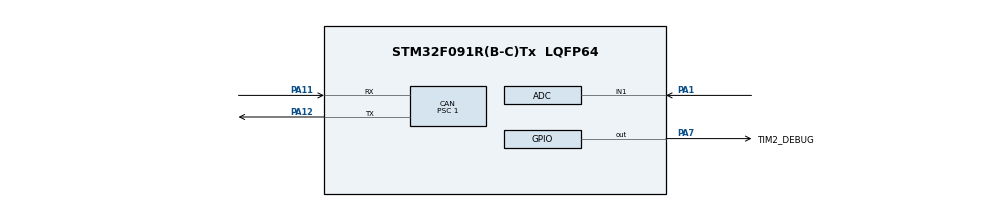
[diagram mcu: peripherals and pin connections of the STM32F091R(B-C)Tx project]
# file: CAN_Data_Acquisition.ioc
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ADC.ContinuousConvMode=DISABLE
ADC.DMAContinuousRequests=ENABLE
ADC.ExternalTrigConv=ADC_EXTERNALTRIGCONV_T2_TRGO
ADC.SamplingTime=ADC_SAMPLETIME_55CYCLES_5
CAN.BS1=CAN_BS1_13TQ
CAN.BS2=CAN_BS2_2TQ
CAN.CalculateBaudRate=500000
CAN.CalculateTimeBit=2000
CAN.CalculateTimeQuantum=125.0
CAN.Mode=CAN_MODE_NORMAL
CAN.Prescaler=1
Dma.ADC.0.Direction=DMA_PERIPH_TO_MEMORY
Dma.ADC.0.Instance=DMA1_Channel1
Dma.ADC.0.MemDataAlignment=DMA_MDATAALIGN_HALFWORD
Dma.ADC.0.MemInc=DMA_MINC_ENABLE
Dma.ADC.0.Mode=DMA_CIRCULAR
Dma.ADC.0.PeriphDataAlignment=DMA_PDATAALIGN_HALFWORD
Dma.ADC.0.PeriphInc=DMA_PINC_DISABLE
Dma.ADC.0.Priority=DMA_PRIORITY_LOW
Dma.Request0=ADC
Mcu.Family=STM32F0
Mcu.Name=STM32F091R(B-C)Tx
Mcu.Package=LQFP64
NVIC.ADC1_COMP_IRQn=true\:0\:0\:false\:false\:true\:true\:true\:true
NVIC.DMA1_Ch1_IRQn=true\:0\:0\:false\:false\:true\:false\:true\:true
PA1.Mode=IN1
PA1.Signal=ADC_IN1
PA11.Mode=CAN_Activate
PA11.Signal=CAN_RX
PA12.Mode=CAN_Activate
PA12.Signal=CAN_TX
PA7.GPIO_Label=TIM2_DEBUG
PA7.Signal=GPIO_Output
ProjectManager.HeapSize=0x200
ProjectManager.StackSize=0x400
ProjectManager.TargetToolchain=STM32CubeIDE
TIM2.AutoReloadPreload=TIM_AUTORELOAD_PRELOAD_DISABLE
TIM2.Period=999
TIM2.Prescaler=7
TIM2.TIM_MasterOutputTrigger=TIM_TRGO_UPDATE
TIM2.TIM_MasterSlaveMode=TIM_MASTERSLAVEMODE_ENABLE
VP_TIM2_VS_ClockSourceINT.Mode=Internal
board=custom

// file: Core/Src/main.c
/* USER CODE BEGIN Header */
/**
  ******************************************************************************
  * @file           : main.c
  * @brief          : Main program body
  ******************************************************************************
  * @attention
  *
  * Copyright (c) 2026 STMicroelectronics.
  * All rights reserved.
  *
  * This software is licensed under terms that can be found in the LICENSE file
  * in the root directory of this software component.
  * If no LICENSE file comes with this software, it is provided AS-IS.
  *
  ******************************************************************************
  */
/* USER CODE END Header */
#include "main.h"

/* USER CODE BEGIN PD */
#define BUFFER_LENGTH ((uint16_t)100)
/* USER CODE END PD */

ADC_HandleTypeDef hadc;
DMA_HandleTypeDef hdma_adc;

CAN_HandleTypeDef hcan;

TIM_HandleTypeDef htim2;

void SystemClock_Config(void);
static void MX_GPIO_Init(void);
static void MX_DMA_Init(void);
static void MX_ADC_Init(void);
static void MX_TIM2_Init(void);
static void MX_CAN_Init(void);

/* USER CODE BEGIN 0 */
uint16_t ADC_VAL = 0;
volatile uint32_t half_count = 0;
volatile long value = 0;
uint16_t buffer[BUFFER_LENGTH];

long map(long x, long in_min, long in_max, long out_min, long out_max) {
	return (x - in_min) * (out_max - out_min + 1) / (in_max - in_min + 1) + out_min;
}

void HAL_ADC_ConvHalfCpltCallback(ADC_HandleTypeDef* hadc) {
	if (hadc->Instance == ADC1) {
		ADC_VAL = buffer[(BUFFER_LENGTH / 2) - 1];
		value = map(ADC_VAL, 0, 4034, 0, 100);
		half_count++;
	}
}

volatile uint32_t full_count = 0;

void HAL_ADC_ConvCpltCallback(ADC_HandleTypeDef* hadc) {
	if (hadc->Instance == ADC1)
	{
		//HAL_GPIO_WritePin(TIM2_DEBUG_GPIO_Port, TIM2_DEBUG_Pin, GPIO_PIN_SET);
		ADC_VAL = buffer[BUFFER_LENGTH - 1];
		value = map(ADC_VAL, 0, 4034, 0, 100);
		full_count++;
		//HAL_GPIO_WritePin(TIM2_DEBUG_GPIO_Port, TIM2_DEBUG_Pin, GPIO_PIN_RESET);
	}
}

volatile uint32_t error_count = 0;

void HAL_ADC_ErrorCallback(ADC_HandleTypeDef* hadc) {
	if (hadc->Instance == ADC1) error_count++;
}

CAN_TxHeaderTypeDef Tx_header = {0};
uint8_t Tx_data[8] = {0xAB};
uint32_t Tx_mailbox;
HAL_StatusTypeDef Tx_status;

uint32_t CanFifoFillLevel;

CAN_RxHeaderTypeDef Rx_header;
uint8_t Rx_data[8] = {0};
HAL_StatusTypeDef Rx_status;
uint32_t can_error, tx_free;
HAL_StatusTypeDef filter_status, start_status;

/* USER CODE END 0 */

int main(void)
{

  /* MCU Configuration--------------------------------------------------------*/

  /* Reset of all peripherals, Initializes the Flash interface and the Systick. */
  HAL_Init();

  /* Configure the system clock */
  SystemClock_Config();

  /* Initialize all configured peripherals */
  MX_GPIO_Init();
  MX_DMA_Init();
  MX_ADC_Init();
  MX_TIM2_Init();
  MX_CAN_Init();
  /* USER CODE BEGIN 2 */
  HAL_ADC_Start_DMA(&hadc, (uint32_t *)buffer, BUFFER_LENGTH);
  HAL_TIM_Base_Start(&htim2);

  CAN_FilterTypeDef filter_conf = {0};
  filter_conf.FilterMode = CAN_FILTERMODE_IDMASK;
  filter_conf.FilterScale = CAN_FILTERSCALE_32BIT;
  filter_conf.FilterFIFOAssignment = CAN_FILTER_FIFO0;
  filter_conf.FilterActivation = CAN_FILTER_ENABLE;

  filter_status = HAL_CAN_ConfigFilter(&hcan, &filter_conf);
  if (filter_status != HAL_OK) {
      Error_Handler();
  }

  start_status = HAL_CAN_Start(&hcan);
  if (start_status != HAL_OK) {
      can_error = HAL_CAN_GetError(&hcan);  // Inspect here in the debugger
      Error_Handler();
  }

  Tx_header.StdId = 2;
  Tx_header.ExtId = 0;
  Tx_header.IDE = CAN_ID_STD;
  Tx_header.RTR = CAN_RTR_DATA;
  Tx_header.DLC = 1;
  Tx_header.TransmitGlobalTime = DISABLE;
  /* USER CODE END 2 */

  /* Infinite loop */
  /* USER CODE BEGIN WHILE */
  while (1)
  {

	  Tx_status = HAL_CAN_AddTxMessage(&hcan, &Tx_header, Tx_data, &Tx_mailbox);
	  HAL_Delay(100);

	  can_error = HAL_CAN_GetError(&hcan);
	  tx_free = HAL_CAN_GetTxMailboxesFreeLevel(&hcan);
	  HAL_Delay(400);

	 // CanFifoFillLevel = HAL_CAN_GetRxFifoFillLevel(&hcan, CAN_RX_FIFO0);
	  //if (CanFifoFillLevel != 0) Rx_status = HAL_CAN_GetRxMessage(&hcan, CAN_RX_FIFO0, &Rx_header, Rx_data);

    /* USER CODE END WHILE */

  }
}

void SystemClock_Config(void)
{
  RCC_OscInitTypeDef RCC_OscInitStruct = {0};
  RCC_ClkInitTypeDef RCC_ClkInitStruct = {0};

  /** Initializes the RCC Oscillators according to the specified parameters
  * in the RCC_OscInitTypeDef structure.
  */
  RCC_OscInitStruct.OscillatorType = RCC_OSCILLATORTYPE_HSI|RCC_OSCILLATORTYPE_HSI14;
  RCC_OscInitStruct.HSIState = RCC_HSI_ON;
  RCC_OscInitStruct.HSI14State = RCC_HSI14_ON;
  RCC_OscInitStruct.HSICalibrationValue = RCC_HSICALIBRATION_DEFAULT;
  RCC_OscInitStruct.HSI14CalibrationValue = 16;
  RCC_OscInitStruct.PLL.PLLState = RCC_PLL_NONE;
  if (HAL_RCC_OscConfig(&RCC_OscInitStruct) != HAL_OK)
  {
    Error_Handler();
  }

  /** Initializes the CPU, AHB and APB buses clocks
  */
  RCC_ClkInitStruct.ClockType = RCC_CLOCKTYPE_HCLK|RCC_CLOCKTYPE_SYSCLK
                              |RCC_CLOCKTYPE_PCLK1;
  RCC_ClkInitStruct.SYSCLKSource = RCC_SYSCLKSOURCE_HSI;
  RCC_ClkInitStruct.AHBCLKDivider = RCC_SYSCLK_DIV1;
  RCC_ClkInitStruct.APB1CLKDivider = RCC_HCLK_DIV1;

  if (HAL_RCC_ClockConfig(&RCC_ClkInitStruct, FLASH_LATENCY_0) != HAL_OK)
  {
    Error_Handler();
  }
}

static void MX_ADC_Init(void)
{

  ADC_ChannelConfTypeDef sConfig = {0};

  /** Configure the global features of the ADC (Clock, Resolution, Data Alignment and number of conversion)
  */
  hadc.Instance = ADC1;
  hadc.Init.ClockPrescaler = ADC_CLOCK_ASYNC_DIV1;
  hadc.Init.Resolution = ADC_RESOLUTION_12B;
  hadc.Init.DataAlign = ADC_DATAALIGN_RIGHT;
  hadc.Init.ScanConvMode = ADC_SCAN_DIRECTION_FORWARD;
  hadc.Init.EOCSelection = ADC_EOC_SINGLE_CONV;
  hadc.Init.LowPowerAutoWait = DISABLE;
  hadc.Init.LowPowerAutoPowerOff = DISABLE;
  hadc.Init.ContinuousConvMode = DISABLE;
  hadc.Init.DiscontinuousConvMode = DISABLE;
  hadc.Init.ExternalTrigConv = ADC_EXTERNALTRIGCONV_T2_TRGO;
  hadc.Init.ExternalTrigConvEdge = ADC_EXTERNALTRIGCONVEDGE_RISING;
  hadc.Init.DMAContinuousRequests = ENABLE;
  hadc.Init.Overrun = ADC_OVR_DATA_PRESERVED;
  if (HAL_ADC_Init(&hadc) != HAL_OK)
  {
    Error_Handler();
  }

  /** Configure for the selected ADC regular channel to be converted.
  */
  sConfig.Channel = ADC_CHANNEL_1;
  sConfig.Rank = ADC_RANK_CHANNEL_NUMBER;
  sConfig.SamplingTime = ADC_SAMPLETIME_55CYCLES_5;
  if (HAL_ADC_ConfigChannel(&hadc, &sConfig) != HAL_OK)
  {
    Error_Handler();
  }

}

static void MX_CAN_Init(void)
{

  hcan.Instance = CAN;
  hcan.Init.Prescaler = 1;
  hcan.Init.Mode = CAN_MODE_NORMAL;
  hcan.Init.SyncJumpWidth = CAN_SJW_1TQ;
  hcan.Init.TimeSeg1 = CAN_BS1_13TQ;
  hcan.Init.TimeSeg2 = CAN_BS2_2TQ;
  hcan.Init.TimeTriggeredMode = DISABLE;
  hcan.Init.AutoBusOff = DISABLE;
  hcan.Init.AutoWakeUp = DISABLE;
  hcan.Init.AutoRetransmission = DISABLE;
  hcan.Init.ReceiveFifoLocked = DISABLE;
  hcan.Init.TransmitFifoPriority = DISABLE;
  if (HAL_CAN_Init(&hcan) != HAL_OK)
  {
    Error_Handler();
  }

}

static void MX_TIM2_Init(void)
{

  TIM_ClockConfigTypeDef sClockSourceConfig = {0};
  TIM_MasterConfigTypeDef sMasterConfig = {0};

  htim2.Instance = TIM2;
  htim2.Init.Prescaler = 7;
  htim2.Init.CounterMode = TIM_COUNTERMODE_UP;
  htim2.Init.Period = 999;
  htim2.Init.ClockDivision = TIM_CLOCKDIVISION_DIV1;
  htim2.Init.AutoReloadPreload = TIM_AUTORELOAD_PRELOAD_DISABLE;
  if (HAL_TIM_Base_Init(&htim2) != HAL_OK)
  {
    Error_Handler();
  }
  sClockSourceConfig.ClockSource = TIM_CLOCKSOURCE_INTERNAL;
  if (HAL_TIM_ConfigClockSource(&htim2, &sClockSourceConfig) != HAL_OK)
  {
    Error_Handler();
  }
  sMasterConfig.MasterOutputTrigger = TIM_TRGO_UPDATE;
  sMasterConfig.MasterSlaveMode = TIM_MASTERSLAVEMODE_ENABLE;
  if (HAL_TIMEx_MasterConfigSynchronization(&htim2, &sMasterConfig) != HAL_OK)
  {
    Error_Handler();
  }

}

static void MX_DMA_Init(void)
{

  /* DMA controller clock enable */
  __HAL_RCC_DMA1_CLK_ENABLE();

  /* DMA interrupt init */
  /* DMA1_Ch1_IRQn interrupt configuration */
  HAL_NVIC_SetPriority(DMA1_Ch1_IRQn, 0, 0);
  HAL_NVIC_EnableIRQ(DMA1_Ch1_IRQn);

}

static void MX_GPIO_Init(void)
{
  GPIO_InitTypeDef GPIO_InitStruct = {0};

  /* GPIO Ports Clock Enable */
  __HAL_RCC_GPIOA_CLK_ENABLE();

  /*Configure GPIO pin Output Level */
  HAL_GPIO_WritePin(TIM2_DEBUG_GPIO_Port, TIM2_DEBUG_Pin, GPIO_PIN_RESET);

  /*Configure GPIO pin : TIM2_DEBUG_Pin */
  GPIO_InitStruct.Pin = TIM2_DEBUG_Pin;
  GPIO_InitStruct.Mode = GPIO_MODE_OUTPUT_PP;
  GPIO_InitStruct.Pull = GPIO_NOPULL;
  GPIO_InitStruct.Speed = GPIO_SPEED_FREQ_LOW;
  HAL_GPIO_Init(TIM2_DEBUG_GPIO_Port, &GPIO_InitStruct);

}

void Error_Handler(void)
{
  __disable_irq();
  while (1)
  {
  }
}
